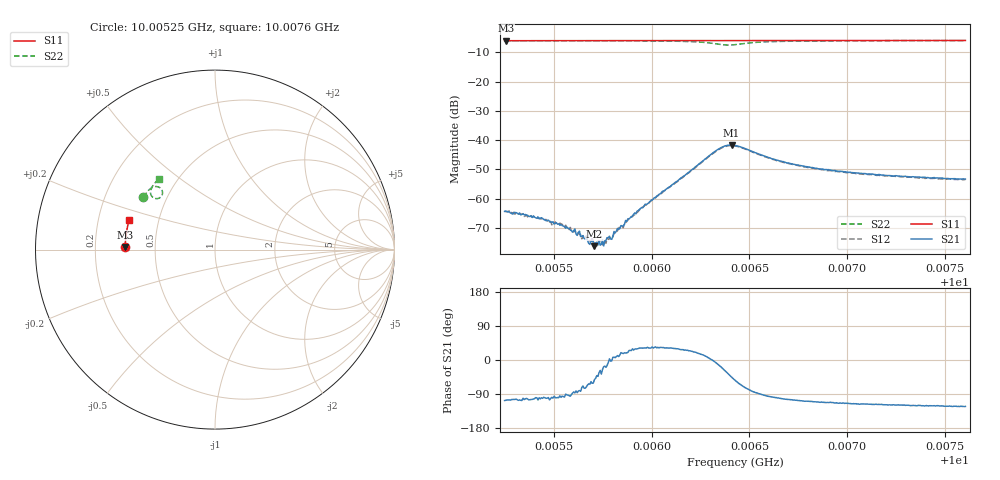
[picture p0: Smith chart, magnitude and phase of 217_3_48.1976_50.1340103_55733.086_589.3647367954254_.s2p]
#  HZ  S  RI  R  50.00
! Rohde & Schwarz Vector Network Analyzer
! Rohde-Schwarz,ZNB20-2Port,1311601062101988,3.16
! Created: UTC 3/20/2024, 11:45:48 AM
! freq[Hz]  re:S11  im:S11  re:S21  im:S21  re:S12  im:S12  re:S22  im:S22
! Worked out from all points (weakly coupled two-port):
!   401 points, 10.00525 GHz to 10.0076 GHz, reference 50 ohm
!   highest |S21| = -41.67 dB at 10.00641 GHz (marker M1); lowest = -76.2 dB at 10.00571 GHz (marker M2)
!   lowest |S11| = -6.0 dB at 10.00525 GHz (marker M3), VSWR 3.00, Z = 16.7 + j0.62 ohm
!   |S11| at or under -10 dB: nowhere
!   |S22| runs from -7.5 to -6.0 dB; largest |S21 - S12| = 0.00048
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1.0005247e10  -0.5001 0.0136  -0.000176 -0.000578  -0.000139 -0.000608  -0.4 0.2925
1.0005253e10  -0.5 0.0139  -0.000171 -0.000583  -0.000101 -0.000595  -0.3998 0.2929
1.000543e10  -0.5 0.0254  -9.96e-05 -0.000454  -4.61e-05 -0.000448  -0.3924 0.3034
1.0005489e10  -0.4999 0.0294  -5.84e-05 -0.00039  -2.07e-05 -0.000356  -0.39 0.3068
1.0005536e10  -0.4997 0.0324  -5.31e-05 -0.000358  1.07e-05 -0.000371  -0.3878 0.3097
1.0005642e10  -0.4995 0.0392  6.73e-05 -0.000217  2.87e-05 -0.000204  -0.3828 0.3162
1.0005672e10  -0.4994 0.0413  7.89e-05 -0.000177  6.76e-05 -0.000198  -0.3813 0.318
1.0005707e10  -0.4994 0.0434  9.55e-05 -0.000121  0.000108 -0.000138  -0.3795 0.3202
1.0005748e10  -0.4991 0.0461  0.00018 -8.38e-05  0.000155 -4.91e-05  -0.3772 0.3228
1.0005772e10  -0.499 0.0477  0.000209 -5.29e-05  0.000212 -1.86e-05  -0.376 0.3244
1.0005789e10  -0.499 0.0488  0.000204 -1.04e-05  0.000226 7.58e-06  -0.3749 0.3256
1.0005819e10  -0.4987 0.0508  0.000276 4.31e-05  0.000253 8.99e-05  -0.373 0.3274
1.0005878e10  -0.4986 0.0547  0.000422 0.000154  0.000381 0.0002  -0.3693 0.3313
1.0006037e10  -0.4975 0.0649  0.00101 0.000625  0.000953 0.000659  -0.3562 0.3422
1.0006326e10  -0.4948 0.0834  0.00644 -0.000696  0.00635 -0.000362  -0.2953 0.3312
1.0006367e10  -0.4943 0.0857  0.00709 -0.00319  0.00706 -0.00284  -0.2935 0.3078
1.0006408e10  -0.4941 0.0881  0.00582 -0.00585  0.00598 -0.00543  -0.3096 0.2877
1.0006426e10  -0.4939 0.0892  0.00484 -0.00653  0.00505 -0.00614  -0.3196 0.2842
1.0006626e10  -0.4924 0.102  -0.000698 -0.00464  -0.000446 -0.00461  -0.3594 0.3239
1.0006821e10  -0.4901 0.1144  -0.00113 -0.00321  -0.000962 -0.00317  -0.3515 0.3478
1.0007216e10  -0.4846 0.1392  -0.00118 -0.00219  -0.00104 -0.00221  -0.3311 0.3748
1.0007604e10  -0.4778 0.1634  -0.00116 -0.00182  -0.00107 -0.00183  -0.311 0.3945
